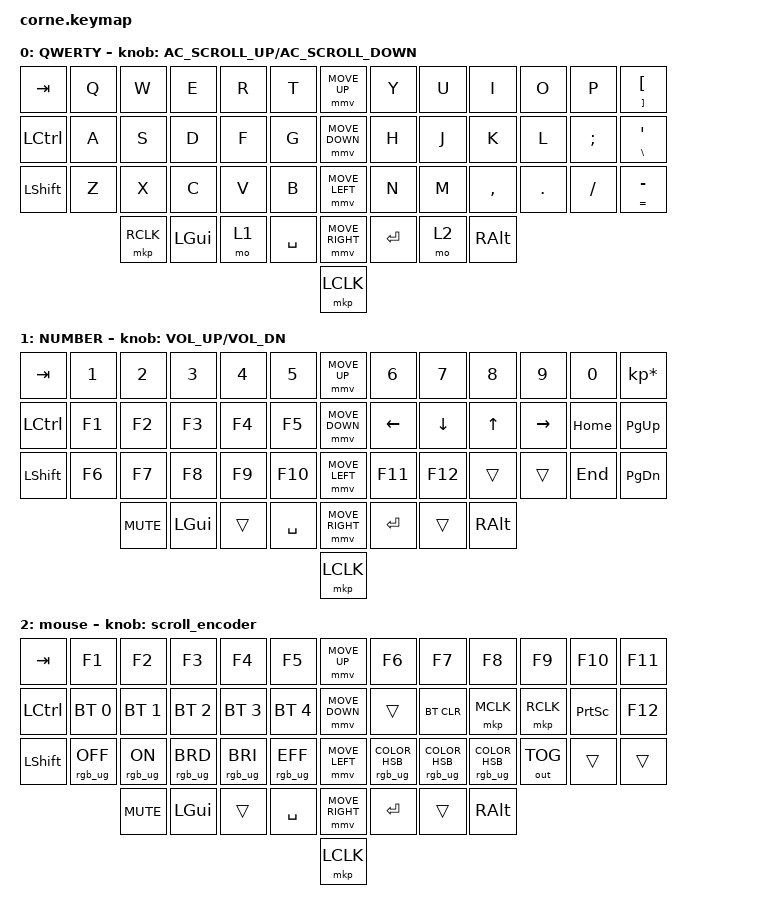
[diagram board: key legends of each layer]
#include <behaviors/mouse_keys.dtsi>
#include <dt-bindings/zmk/mouse.h>
#include <behaviors.dtsi>
#include <dt-bindings/zmk/bt.h>
#include <dt-bindings/zmk/keys.h>
#include <dt-bindings/zmk/outputs.h>
#include <dt-bindings/zmk/pointing.h>
#include <dt-bindings/zmk/rgb.h>

#define ZMK_MOUSE_DEFAULT_MOVE_VAL 1200  // 600
#define ZMK_MOUSE_DEFAULT_SCRL_VAL 20    // 10
#define U_MS_U &mmv MOVE_UP
#define U_MS_D &mmv MOVE_DOWN
#define U_MS_L &mmv MOVE_LEFT
#define U_MS_R &mmv MOVE_RIGHT

/ {
    behaviors {
        td0: td0 {
            compatible = "zmk,behavior-tap-dance";
            label = "TD0";
            #binding-cells = <0>;
            bindings = <&kp LEFT_SHIFT>, <&kp CAPS>;
        };

        mmv {
            acceleration-exponent = <1>;      // 1
            time-to-max-speed-ms = <900>;    // 40
            delay-ms = <0>;                   // 0
        };

        msc {
            acceleration-exponent = <1>;      // 0
            time-to-max-speed-ms = <400>;      // 500
            delay-ms = <0>;                   // 10
        };
    };

    rgb_encoder: rgb_encoder {
        compatible = "zmk,behavior-sensor-rotate";
        label = "RGB_ENCODER";
        #sensor-binding-cells = <0>;
        bindings = <&rgb_ug RGB_BRI>, <&rgb_ug RGB_BRD>;
    };

    scroll_encoder: scroll_encoder {
        compatible = "zmk,behavior-sensor-rotate";
        #sensor-binding-cells = <0>;
        bindings = <&msc SCRL_DOWN>, <&msc SCRL_UP>;

        tap-ms = <30>;
    };

    combos {
        compatible = "zmk,combos";

        backspace {
            bindings = <&kp BACKSPACE>;
            key-positions = <10 11>;
        };

        delete {
            bindings = <&kp DELETE>;
            key-positions = <24 23>;
        };

        escape {
            bindings = <&kp ESCAPE>;
            key-positions = <1 2>;
        };
    };

    keymap {
        compatible = "zmk,keymap";

        default_layer {
            display-name = "QWERTY";

            // --------------------------------------------------------------------------------
            // |  TAB |  Q  |  W  |  E  |  R  |  T  |                ↑    |  Y  |  U   |  I  |  O  |  P  | BKSP |      &kp UP_ARROW 
            // | SHIFT |  A  |  S  |  D  |  F  |  G  |               ↓    |  H  |  J   |  K  |  L  |  ;  |  '   | 
            // | CTRL |  Z  |  X  |  C  |  V  |  B  |                ←    |  N  |  M   |  ,  |  .  |  /  | ESC  |
            //                    | GUI | LWR | SPC |                →    | ENT | RSE  | ALT |
            //                                                      enter

            bindings = <
&kp TAB    &kp Q  &kp W      &kp E     &kp R  &kp T        &mmv MOVE_UP     &kp Y      &kp U  &kp I      &kp O    &kp P     &mt RIGHT_BRACKET LEFT_BRACKET
&kp LCTRL  &kp A  &kp S      &kp D     &kp F  &kp G        &mmv MOVE_DOWN   &kp H      &kp J  &kp K      &kp L    &kp SEMI  &mt BACKSLASH SQT
&kp LSHFT  &kp Z  &kp X      &kp C     &kp V  &kp B        &mmv MOVE_LEFT   &kp N      &kp M  &kp COMMA  &kp DOT  &kp FSLH  &mt EQUAL MINUS
                  &mkp RCLK  &kp LGUI  &mo 1  &kp SPACE    &mmv MOVE_RIGHT  &kp ENTER  &mo 2  &kp RALT
                                                           &mkp LCLK
            >;

            label = "QWERTY";
            sensor-bindings = <&inc_dec_kp C_AC_SCROLL_UP C_AC_SCROLL_DOWN>;
        };

        lower_layer {
            display-name = "NUMBER";

            // -----------------------------------------------------------------------------------------
            // |  TAB |  1  |  2  |  3  |  4  |  5  |   |  6  |  7  |  8  |  9  |  0  | BKSP |
            // | BTCLR| BT1 | BT2 | BT3 | BT4 | BT5 |   | LFT | DWN |  UP | RGT |     |      |
            // | SHFT |     |     |     |     |     |   |     |     |     |     |     |      |
            //                    | GUI |     | SPC |   | ENT |     | ALT |

            bindings = <
&kp TAB    &kp N1  &kp N2      &kp N3    &kp N4  &kp N5       &mmv MOVE_UP     &kp N6    &kp N7    &kp N8    &kp N9     &kp N0    &kp KP_MULTIPLY
&kp LCTRL  &kp F1  &kp F2      &kp F3    &kp F4  &kp F5       &mmv MOVE_DOWN   &kp LEFT  &kp DOWN  &kp UP    &kp RIGHT  &kp HOME  &kp PG_UP
&kp LSHFT  &kp F6  &kp F7      &kp F8    &kp F9  &kp F10      &mmv MOVE_LEFT   &kp F11   &kp F12   &trans    &trans     &kp END   &kp PG_DN
                   &kp K_MUTE  &kp LGUI  &trans  &kp SPACE    &mmv MOVE_RIGHT  &kp RET   &trans    &kp RALT
                                                              &mkp LCLK
            >;

            label = "NUMBER";
            sensor-bindings = <&inc_dec_kp C_VOLUME_UP C_VOL_DN>;
        };

        layer_2 {
            display-name = "mouse";
            bindings = <
&kp TAB    &kp F1           &kp F2          &kp F3           &kp F4           &kp F5             &mmv MOVE_UP     &kp F6                             &kp F7                          &kp F8                             &kp F9        &kp F10          &kp F11
&kp LCTRL  &bt BT_SEL 0     &bt BT_SEL 1    &bt BT_SEL 2     &bt BT_SEL 3     &bt BT_SEL 4       &mmv MOVE_DOWN   &trans                             &bt BT_CLR                      &mkp MCLK                          &mkp RCLK     &kp PRINTSCREEN  &kp F12
&kp LSHFT  &rgb_ug RGB_OFF  &rgb_ug RGB_ON  &rgb_ug RGB_BRD  &rgb_ug RGB_BRI  &rgb_ug RGB_EFF    &mmv MOVE_LEFT   &rgb_ug RGB_COLOR_HSB(105,100,20)  &rgb_ug RGB_COLOR_HSB(0,0,100)  &rgb_ug RGB_COLOR_HSB(272,100,48)  &out OUT_TOG  &trans           &trans
                            &kp C_MUTE      &kp LGUI         &trans           &kp SPACE          &mmv MOVE_RIGHT  &kp RET                            &trans                          &kp RALT
                                                                                                 &mkp LCLK
            >;

            label = "FN";
            sensor-bindings = <&scroll_encoder>;
        };
    };
};
